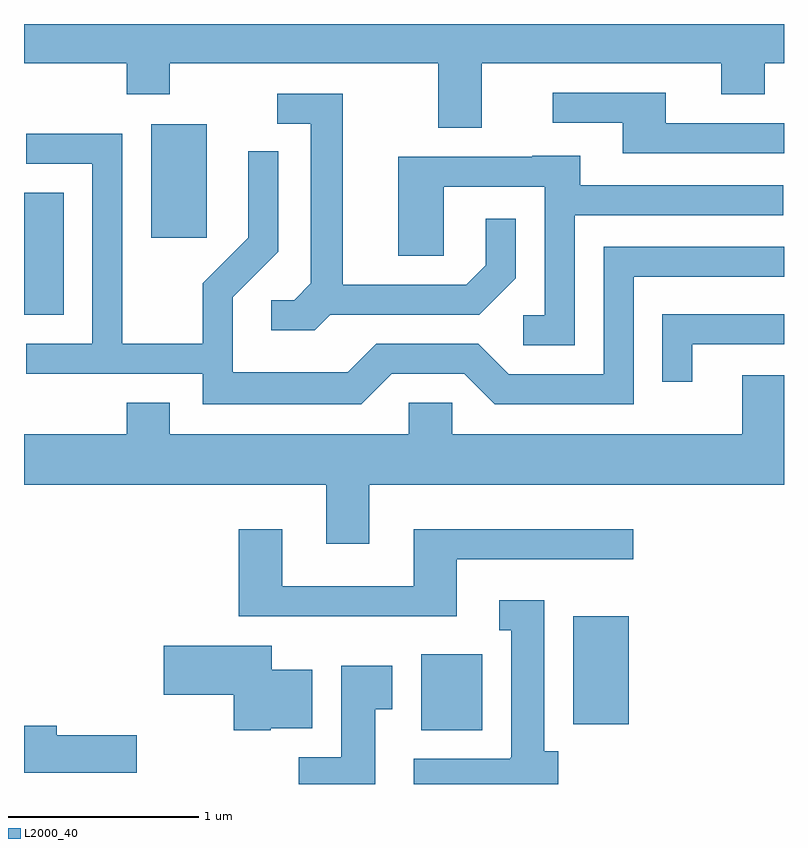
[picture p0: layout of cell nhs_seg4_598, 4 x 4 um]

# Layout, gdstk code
import gdstk
lib = gdstk.Library(unit=1e-6, precision=1e-09)
def R(c, l, rs):  # rectangles x0, y0, x1, y1
    for r in rs: c.add(gdstk.rectangle(r[:2], r[2:], *l))
def P(c, l, *ps):  # polygons
    for p in ps: c.add(gdstk.Polygon(p, *l))
L2000_40 = (2000, 40)

nhs_seg4_598 = lib.new_cell('nhs_seg4_598')
R(nhs_seg4_598, L2000_40, [(203.701,1362.266,204.024,1362.664), (204.501,1362.296,204.794,1362.864), (201.611,1364.451,201.819,1365.094), (202.281,1364.856,202.574,1365.454)])
P(nhs_seg4_598, L2000_40, [(204.019,1365.776),(205.281,1365.776),(205.281,1365.611),(205.509,1365.611),(205.509,1365.776),(205.611,1365.776),(205.611,1365.982),(201.611,1365.982),(201.611,1365.776),(202.151,1365.776),(202.151,1365.611),(202.379,1365.611),(202.379,1365.776),(203.791,1365.776),(203.791,1365.436),(204.019,1365.436)],
  [(205.611,1365.459),(204.989,1365.459),(204.989,1365.619),(204.393,1365.619),(204.393,1365.461),(204.761,1365.461),(204.761,1365.301),(205.611,1365.301)],
  [(203.222,1364.451),(204.007,1364.451),(204.199,1364.644),(204.199,1364.958),(204.041,1364.958),(204.041,1364.712),(203.939,1364.609),(203.289,1364.609),(203.289,1365.614),(202.943,1365.614),(202.943,1365.456),(203.121,1365.456),(203.121,1364.617),(203.034,1364.529),(202.913,1364.529),(202.913,1364.371),(203.142,1364.371)],
  [(203.547,1364.141),(203.929,1364.141),(204.089,1363.981),(204.819,1363.981),(204.819,1364.651),(205.611,1364.651),(205.611,1364.809),(204.661,1364.809),(204.661,1364.139),(204.162,1364.139),(204.002,1364.299),(203.464,1364.299),(203.314,1364.149),(202.709,1364.149),(202.709,1364.544),(202.949,1364.784),(202.949,1365.313),(202.791,1365.313),(202.791,1364.857),(202.551,1364.617),(202.551,1364.299),(202.129,1364.299),(202.129,1365.404),(201.623,1365.404),(201.623,1365.246),(201.971,1365.246),(201.971,1364.299),(201.623,1364.299),(201.623,1364.141),(202.551,1364.141),(202.551,1363.981),(203.387,1363.981)],
  [(204.509,1364.976),(205.608,1364.976),(205.608,1365.134),(204.539,1365.134),(204.539,1365.289),(204.285,1365.289),(204.285,1365.284),(203.581,1365.284),(203.581,1364.761),(203.819,1364.761),(203.819,1365.126),(204.351,1365.126),(204.351,1364.449),(204.238,1364.449),(204.238,1364.291),(204.509,1364.291)],
  [(205.129,1364.296),(205.611,1364.296),(205.611,1364.454),(204.971,1364.454),(204.971,1364.098),(205.129,1364.098)],
  [(203.429,1363.556),(205.611,1363.556),(205.611,1364.134),(205.391,1364.134),(205.391,1363.824),(203.864,1363.824),(203.864,1363.989),(203.636,1363.989),(203.636,1363.824),(202.379,1363.824),(202.379,1363.989),(202.151,1363.989),(202.151,1363.824),(201.611,1363.824),(201.611,1363.556),(203.201,1363.556),(203.201,1363.246),(203.429,1363.246)],
  [(203.889,1363.166),(204.818,1363.166),(204.818,1363.324),(203.661,1363.324),(203.661,1363.024),(202.969,1363.024),(202.969,1363.324),(202.741,1363.324),(202.741,1362.866),(203.889,1362.866)],
  [(204.424,1362.154),(204.349,1362.154),(204.349,1362.949),(204.113,1362.949),(204.113,1362.791),(204.176,1362.791),(204.176,1362.12),(204.17,1362.12),(204.17,1362.114),(203.661,1362.114),(203.661,1361.982),(204.424,1361.982)],
  [(202.91,1362.276),(203.129,1362.276),(203.129,1362.584),(202.914,1362.584),(202.914,1362.709),(202.346,1362.709),(202.346,1362.451),(202.716,1362.451),(202.716,1362.266),(202.91,1362.266)],
  [(203.459,1362.376),(203.549,1362.376),(203.549,1362.604),(203.281,1362.604),(203.281,1362.124),(203.056,1362.124),(203.056,1361.982),(203.459,1361.982)],
  [(202.204,1362.239),(201.784,1362.239),(201.784,1362.289),(201.611,1362.289),(201.611,1362.041),(202.204,1362.041)])

lib.write_gds('nhs_seg4_598.gds')
